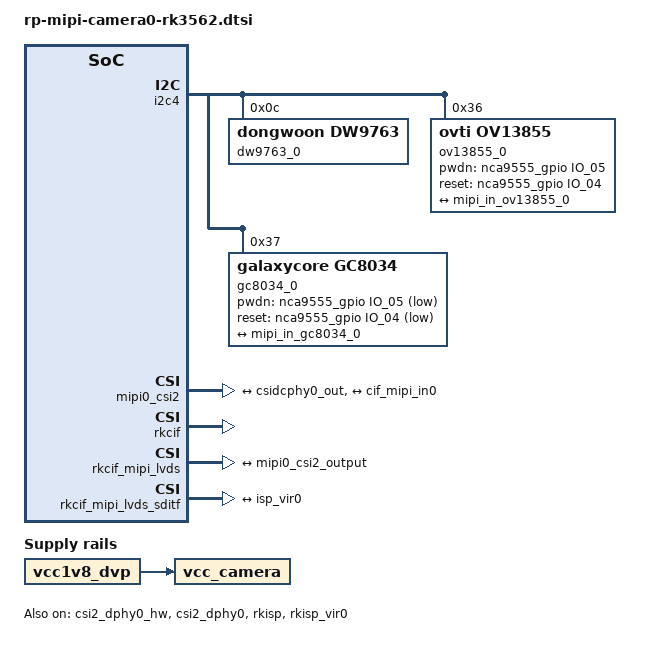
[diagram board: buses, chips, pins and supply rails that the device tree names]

/ {


        vcc_camera: vcc-camera-regulator {
                compatible = "regulator-fixed";
                regulator-name = "vcc_camera";
                enable-active-high;
                regulator-always-on;
                regulator-boot-on;
		vin-supply = <&vcc1v8_dvp>;
        };
};

&i2c4 {
        status = "okay";
	
	dw9763_0: dw9763_0@c {
                compatible = "dongwoon,dw9763";
                status = "okay";
                reg = <0x0c>;
                rockchip,vcm-max-current = <120>;
                rockchip,vcm-start-current = <20>;
                rockchip,vcm-rated-current = <90>;
                rockchip,vcm-step-mode = <3>;
                rockchip,vcm-t-src = <0x20>;
                rockchip,vcm-t-div = <1>;
                rockchip,camera-module-index = <0>;
                rockchip,camera-module-facing = "back";
        };
  
        ov13855_0: ov13855_0@36 {
                compatible = "ovti,ov13855";
                status = "okay";
                reg = <0x36>;
		clocks = <&cru CLK_CAM0_OUT2IO>;
                clock-names = "xvclk";
                pinctrl-names = "default";
                pinctrl-0 = <&camm0_clk0_out>;
		pwdn-gpios = <&nca9555_gpio IO_05 GPIO_ACTIVE_HIGH>;
                reset-gpios = <&nca9555_gpio IO_04 GPIO_ACTIVE_HIGH>;
                rockchip,camera-module-index = <0>;
                rockchip,camera-module-facing = "back";
                rockchip,camera-module-name = "KYT-10203-v1";
                rockchip,camera-module-lens-name = "default";
                lens-focus = <&dw9763_0>;
                port {
                        ov13855_out0: endpoint {
                                remote-endpoint = <&mipi_in_ov13855_0>;
                                data-lanes = <1 2 3 4>;
                        };
                };
        };
	
	gc8034_0: gc8034_0@37 {
                compatible = "galaxycore,gc8034";
                status = "okay";
                reg = <0x37>;
                clocks = <&cru CLK_CAM0_OUT2IO>;
                clock-names = "xvclk";
                pinctrl-names = "default";
                pinctrl-0 = <&camm0_clk0_out>;
                pwdn-gpios = <&nca9555_gpio IO_05 GPIO_ACTIVE_LOW>;
                reset-gpios = <&nca9555_gpio IO_04 GPIO_ACTIVE_LOW>;
                rockchip,camera-module-index = <0>;
                rockchip,camera-module-facing = "back";
                rockchip,camera-module-name = "RK-CMK-8M-2-v1";
                rockchip,camera-module-lens-name = "CK8401";
                port {
                        gc8034_out0: endpoint {
                                remote-endpoint = <&mipi_in_gc8034_0>;
                                data-lanes = <1 2 3 4>;
                        };
                };
        };
};


&csi2_dphy0_hw {
	status = "okay";
};

&csi2_dphy0 {
        status = "okay";

        ports {
                #address-cells = <1>;
                #size-cells = <0>;
                port@0 {
                        reg = <0>;
                        #address-cells = <1>;
                        #size-cells = <0>;

			mipi_in_gc8034_0: endpoint@0 {
                                reg = <0>;
                                remote-endpoint = <&gc8034_out0>;
                                data-lanes = <1 2 3 4>;
                        };

			mipi_in_ov13855_0: endpoint@1 {
                                reg = <1>;
                                remote-endpoint = <&ov13855_out0>;
                                data-lanes = <1 2 3 4>;
                        };
              };
                port@1 {
                        reg = <1>;
                        #address-cells = <1>;
                        #size-cells = <0>;

                        csidcphy0_out: endpoint@0 {
                                reg = <0>;
                                remote-endpoint = <&mipi0_csi2_input>;
                        };
                };
        };
};


&mipi0_csi2 {
	status = "okay";

	ports {
		#address-cells = <1>;
		#size-cells = <0>;

		port@0 {
			reg = <0>;
			#address-cells = <1>;
			#size-cells = <0>;

			mipi0_csi2_input: endpoint@1 {
				reg = <1>;
				remote-endpoint = <&csidcphy0_out>;
			};
		};

		port@1 {
			reg = <1>;
			#address-cells = <1>;
			#size-cells = <0>;

			mipi0_csi2_output: endpoint@0 {
				reg = <0>;
				remote-endpoint = <&cif_mipi_in0>;
			};
		};
	};
};

&rkcif {
	status = "okay";
};

&rkcif_mipi_lvds {
	status = "okay";

	port {
		cif_mipi_in0: endpoint {
			remote-endpoint = <&mipi0_csi2_output>;
		};
	};
};

&rkcif_mipi_lvds_sditf {
	status = "okay";

	port {
		mipi_lvds_sditf: endpoint {
			remote-endpoint = <&isp_vir0>;
		};
	};
};

&rkcif_mmu {
	status = "okay";
};

&rkisp {
	status = "okay";
};

&rkisp_mmu {
	status = "okay";
};

&rkisp_vir0 {
	status = "okay";

	port {
		#address-cells = <1>;
		#size-cells = <0>;

		isp_vir0: endpoint@0 {
			reg = <0>;
			remote-endpoint = <&mipi_lvds_sditf>;
		};
	};
};

